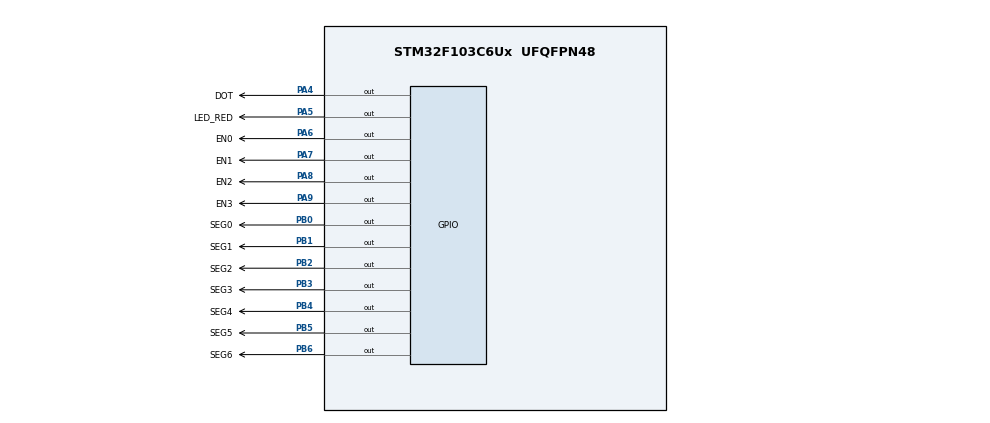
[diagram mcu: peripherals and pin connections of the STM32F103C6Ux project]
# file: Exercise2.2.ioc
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Mcu.Family=STM32F1
Mcu.Name=STM32F103C6Ux
Mcu.Package=UFQFPN48
NVIC.PriorityGroup=NVIC_PRIORITYGROUP_4
NVIC.TIM2_IRQn=true\:0\:0\:false\:false\:true\:true\:true
PA4.GPIO_Label=DOT
PA4.Signal=GPIO_Output
PA5.GPIO_Label=LED_RED
PA5.Signal=GPIO_Output
PA6.GPIO_Label=EN0
PA6.Signal=GPIO_Output
PA7.GPIO_Label=EN1
PA7.Signal=GPIO_Output
PA8.GPIO_Label=EN2
PA8.Signal=GPIO_Output
PA9.GPIO_Label=EN3
PA9.Signal=GPIO_Output
PB0.GPIO_Label=SEG0
PB0.Signal=GPIO_Output
PB1.GPIO_Label=SEG1
PB1.Signal=GPIO_Output
PB2.GPIO_Label=SEG2
PB2.Signal=GPIO_Output
PB3.GPIO_Label=SEG3
PB3.Signal=GPIO_Output
PB4.GPIO_Label=SEG4
PB4.Signal=GPIO_Output
PB5.GPIO_Label=SEG5
PB5.Signal=GPIO_Output
PB6.GPIO_Label=SEG6
PB6.Signal=GPIO_Output
ProjectManager.HeapSize=0x200
ProjectManager.StackSize=0x400
ProjectManager.TargetToolchain=STM32CubeIDE
RCC.APB1Freq_Value=8000000
RCC.APB2Freq_Value=8000000
TIM2.Period=9
TIM2.Prescaler=7999
VP_SYS_VS_ND.Mode=No_Debug
VP_TIM2_VS_ClockSourceINT.Mode=Internal
board=custom

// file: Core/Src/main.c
/* USER CODE BEGIN Header */
/**
  ******************************************************************************
  * @file           : main.c
  * @brief          : Main program body
  ******************************************************************************
  * @attention
  *
  * <h2><center>&copy; Copyright (c) 2024 STMicroelectronics.
  * All rights reserved.</center></h2>
  *
  * This software component is licensed by ST under BSD 3-Clause license,
  * the "License"; You may not use this file except in compliance with the
  * License. You may obtain a copy of the License at:
  *                        opensource.org/licenses/BSD-3-Clause
  *
  ******************************************************************************
  */
/* USER CODE END Header */
#include "main.h"

TIM_HandleTypeDef htim2;

void SystemClock_Config(void);
static void MX_GPIO_Init(void);
static void MX_TIM2_Init(void);

int main(void)
{

  /* MCU Configuration--------------------------------------------------------*/

  /* Reset of all peripherals, Initializes the Flash interface and the Systick. */
  HAL_Init();

  /* Configure the system clock */
  SystemClock_Config();

  /* Initialize all configured peripherals */
  MX_GPIO_Init();
  MX_TIM2_Init();
  /* USER CODE BEGIN 2 */
  HAL_TIM_Base_Start_IT(&htim2);
  /* USER CODE END 2 */

  /* Infinite loop */
  while (1)
  {

  }
}

void SystemClock_Config(void)
{
  RCC_OscInitTypeDef RCC_OscInitStruct = {0};
  RCC_ClkInitTypeDef RCC_ClkInitStruct = {0};

  /** Initializes the RCC Oscillators according to the specified parameters
  * in the RCC_OscInitTypeDef structure.
  */
  RCC_OscInitStruct.OscillatorType = RCC_OSCILLATORTYPE_HSI;
  RCC_OscInitStruct.HSIState = RCC_HSI_ON;
  RCC_OscInitStruct.HSICalibrationValue = RCC_HSICALIBRATION_DEFAULT;
  RCC_OscInitStruct.PLL.PLLState = RCC_PLL_NONE;
  if (HAL_RCC_OscConfig(&RCC_OscInitStruct) != HAL_OK)
  {
    Error_Handler();
  }
  /** Initializes the CPU, AHB and APB buses clocks
  */
  RCC_ClkInitStruct.ClockType = RCC_CLOCKTYPE_HCLK|RCC_CLOCKTYPE_SYSCLK
                              |RCC_CLOCKTYPE_PCLK1|RCC_CLOCKTYPE_PCLK2;
  RCC_ClkInitStruct.SYSCLKSource = RCC_SYSCLKSOURCE_HSI;
  RCC_ClkInitStruct.AHBCLKDivider = RCC_SYSCLK_DIV1;
  RCC_ClkInitStruct.APB1CLKDivider = RCC_HCLK_DIV1;
  RCC_ClkInitStruct.APB2CLKDivider = RCC_HCLK_DIV1;

  if (HAL_RCC_ClockConfig(&RCC_ClkInitStruct, FLASH_LATENCY_0) != HAL_OK)
  {
    Error_Handler();
  }
}

static void MX_TIM2_Init(void)
{

  TIM_ClockConfigTypeDef sClockSourceConfig = {0};
  TIM_MasterConfigTypeDef sMasterConfig = {0};

  htim2.Instance = TIM2;
  htim2.Init.Prescaler = 7999;
  htim2.Init.CounterMode = TIM_COUNTERMODE_UP;
  htim2.Init.Period = 9;
  htim2.Init.ClockDivision = TIM_CLOCKDIVISION_DIV1;
  htim2.Init.AutoReloadPreload = TIM_AUTORELOAD_PRELOAD_DISABLE;
  if (HAL_TIM_Base_Init(&htim2) != HAL_OK)
  {
    Error_Handler();
  }
  sClockSourceConfig.ClockSource = TIM_CLOCKSOURCE_INTERNAL;
  if (HAL_TIM_ConfigClockSource(&htim2, &sClockSourceConfig) != HAL_OK)
  {
    Error_Handler();
  }
  sMasterConfig.MasterOutputTrigger = TIM_TRGO_RESET;
  sMasterConfig.MasterSlaveMode = TIM_MASTERSLAVEMODE_DISABLE;
  if (HAL_TIMEx_MasterConfigSynchronization(&htim2, &sMasterConfig) != HAL_OK)
  {
    Error_Handler();
  }

}

static void MX_GPIO_Init(void)
{
  GPIO_InitTypeDef GPIO_InitStruct = {0};

  /* GPIO Ports Clock Enable */
  __HAL_RCC_GPIOA_CLK_ENABLE();
  __HAL_RCC_GPIOB_CLK_ENABLE();

  /*Configure GPIO pin Output Level */
  HAL_GPIO_WritePin(GPIOA, DOT_Pin|LED_RED_Pin|EN0_Pin|EN1_Pin
                          |EN2_Pin|EN3_Pin, GPIO_PIN_RESET);

  /*Configure GPIO pin Output Level */
  HAL_GPIO_WritePin(GPIOB, SEG0_Pin|SEG1_Pin|SEG2_Pin|SEG3_Pin
                          |SEG4_Pin|SEG5_Pin|SEG6_Pin, GPIO_PIN_RESET);

  /*Configure GPIO pins : DOT_Pin LED_RED_Pin EN0_Pin EN1_Pin
                           EN2_Pin EN3_Pin */
  GPIO_InitStruct.Pin = DOT_Pin|LED_RED_Pin|EN0_Pin|EN1_Pin
                          |EN2_Pin|EN3_Pin;
  GPIO_InitStruct.Mode = GPIO_MODE_OUTPUT_PP;
  GPIO_InitStruct.Pull = GPIO_NOPULL;
  GPIO_InitStruct.Speed = GPIO_SPEED_FREQ_LOW;
  HAL_GPIO_Init(GPIOA, &GPIO_InitStruct);

  /*Configure GPIO pins : SEG0_Pin SEG1_Pin SEG2_Pin SEG3_Pin
                           SEG4_Pin SEG5_Pin SEG6_Pin */
  GPIO_InitStruct.Pin = SEG0_Pin|SEG1_Pin|SEG2_Pin|SEG3_Pin
                          |SEG4_Pin|SEG5_Pin|SEG6_Pin;
  GPIO_InitStruct.Mode = GPIO_MODE_OUTPUT_PP;
  GPIO_InitStruct.Pull = GPIO_NOPULL;
  GPIO_InitStruct.Speed = GPIO_SPEED_FREQ_LOW;
  HAL_GPIO_Init(GPIOB, &GPIO_InitStruct);

}

/* USER CODE BEGIN 4 */
void clear() {
	HAL_GPIO_WritePin(GPIOA, EN0_Pin | EN1_Pin, SET);
	HAL_GPIO_WritePin(GPIOB, SEG0_Pin | SEG1_Pin | SEG2_Pin |
							SEG3_Pin | SEG4_Pin | SEG5_Pin | SEG6_Pin, RESET);
}
int controllPin[2] = {EN0_Pin, EN1_Pin, EN2_Pin, EN3_Pin};
void enablePin(int pin) {
	HAL_GPIO_WritePin(GPIOA, controllPin[pin], RESET);
}
void display7SEG(int num) {
	char segNum[10] = {0xC0, 0xF9, 0xA4, 0xB0, 0x99, 0x92, 0x82, 0xF8, 0x80, 0x90};
	for (int i = 0; i < 7; ++i) {
		HAL_GPIO_WritePin(GPIOB, GPIO_PIN_0 << i, (segNum[num] >> i) & 1);
	}
}
int buffer[2] = {1, 2, 3, 0};
int counter = 100;
int state = 0;
void HAL_TIM_PeriodElapsedCallback(TIM_HandleTypeDef *htim) {
	counter--;
	if(counter == 50 || counter == 0) {
		if(counter == 0) {
			counter = 100;
			HAL_GPIO_TogglePin(LED_RED_GPIO_Port, LED_RED_Pin);
			HAL_GPIO_TogglePin(DOT_GPIO_Port, DOT_Pin);
		}
		clear();
		enablePin(state);
		display7SEG(buffer[state]);
		state++;
		if (state >= 4) state = 0;
	}
}
/* USER CODE END 4 */

void Error_Handler(void)
{
  __disable_irq();
  while (1)
  {
  }
}

/************************ (C) COPYRIGHT STMicroelectronics *****END OF FILE****/
